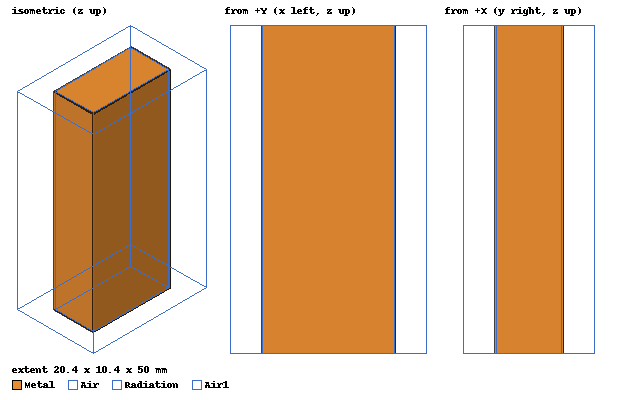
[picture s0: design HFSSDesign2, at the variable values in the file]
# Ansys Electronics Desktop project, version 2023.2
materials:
  vacuum: permittivity=1
  air - Copy: permittivity=1.0006 permeability=1.0000004
  air: permittivity=1.0006 permeability=1.0000004
  copper: permeability=0.999991 conductivity=58000000

design HFSSDesign2 (HFSS, HFSS Terminal Network, model units mm)
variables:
  a = 20mm
  b = 10mm
  L = 50mm
  th = 0.2mm
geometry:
  Air [air] = box(corner=(-a/2, -b/2, 0mm), size=(a, b, L))
  Metal [copper] = box(corner=(-a/2-th, -b/2-th, 0mm), size=(a+2*th, b+2*th, L))
  Radiation [air] = box(corner=(-a/2-5mm, -b/2 -5mm, 0mm), size=(a+10mm, b+10mm, L))
  Air1 [vacuum] = box(corner=(-a/2, -b/2, 0mm), size=(a, b, L))
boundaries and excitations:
  Radition: Perfect E Objects=Radiation
  1: Wave Port Faces=Air1.face(-z) WavePortType=Modal NumModes=1 Modes{Mode1{IntLine{(0, -5, 0) -> (0, 0, 0)} CharImp=Zpi}}
  2: Wave Port Faces=Air1.face(+z) WavePortType=Modal NumModes=1 Modes{Mode1{IntLine{(0, -5, 50) -> (0, 0, 50)} CharImp=Zpi}}
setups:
  Setup1: HfssDriven Frequency=10GHz MaxDeltaS=0.02 MaximumPasses=12 MinimumPasses=1 MinimumConvergedPasses=1 PercentRefinement=30 BasisOrder=1 PortAccuracy=2 DrivenSolverType="Direct Solver"
    sweep Sweep: 5GHz to 15GHz, 401 points; Type=Interpolating SaveFields InterpTolerance=0.5 InterpMaxSolns=250 PassivityErrorTolerance=0.0001
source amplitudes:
  1:1: 1V 0deg
  2:1: 0V 0deg
